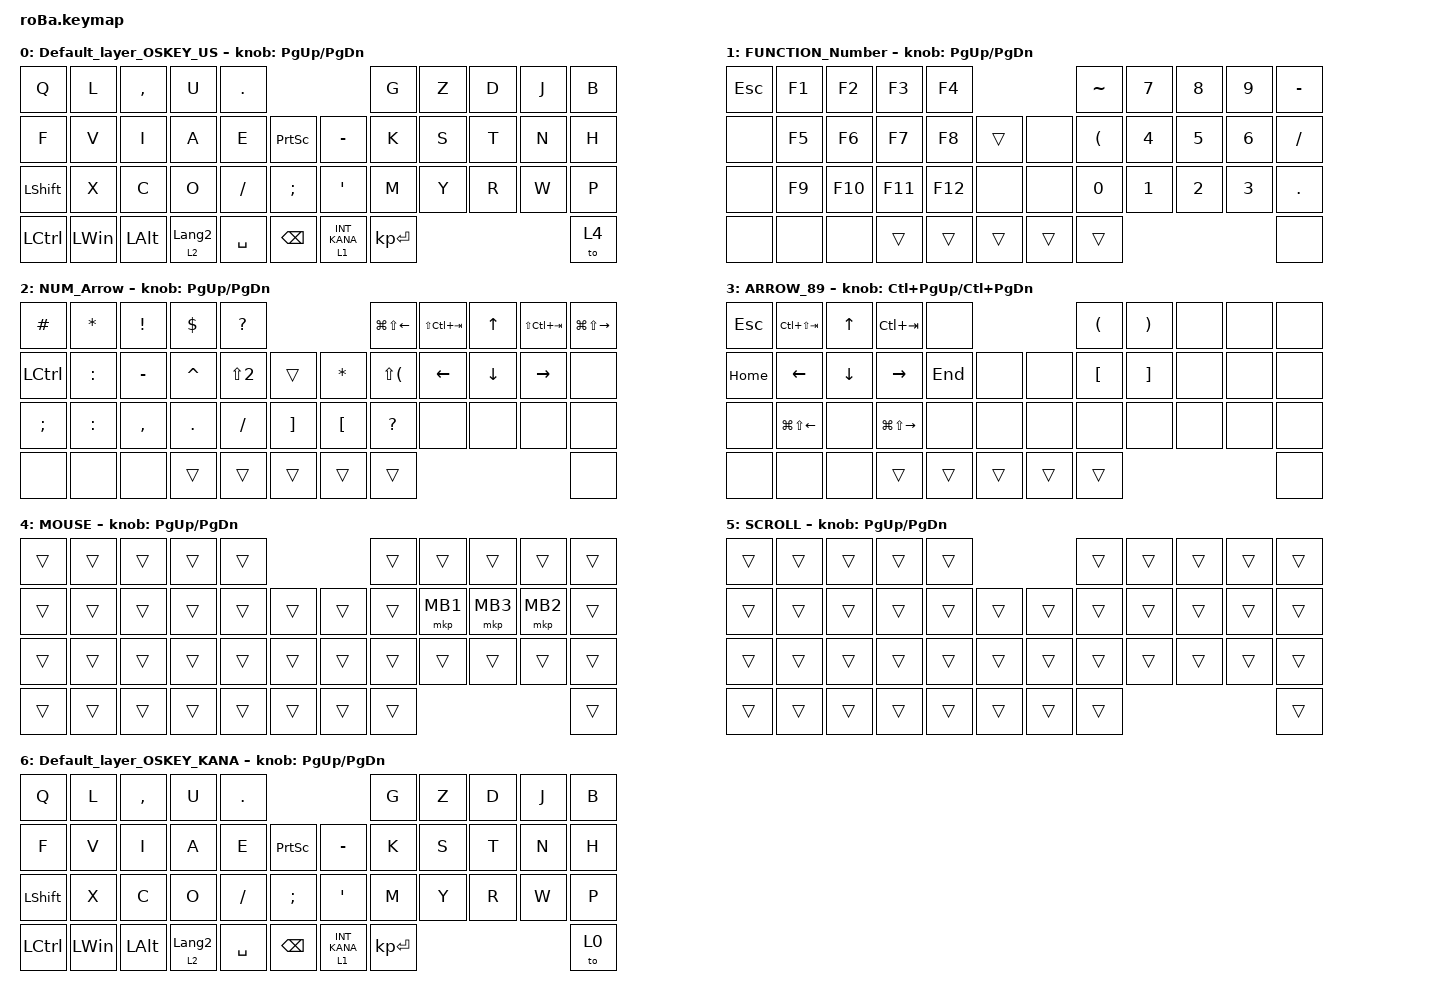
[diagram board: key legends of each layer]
#include <behaviors.dtsi>
#include <dt-bindings/zmk/bt.h>
#include <dt-bindings/zmk/keys.h>
#include <dt-bindings/zmk/pointing.h>

&mt {
    flavor = "balanced";
    quick-tap-ms = <0>;
};

/ {
    combos {
        compatible = "zmk,combos";

        BT1 {
            bindings = <&bt BT_PRV>;
            key-positions = <6 5 7>;
        };

        BT2 {
            bindings = <&bt BT_NXT>;
            key-positions = <6 7 8>;
        };

        Ex {
            bindings = <&kp EXCLAMATION>;
            key-positions = <4 2>;
        };

        shift {
            bindings = <&kp LEFT_SHIFT>;
            key-positions = <38 41>;
        };

        control {
            bindings = <&kp LEFT_CONTROL>;
            key-positions = <40 39>;
        };

        click1_Ons {
            bindings = <&mkp MB1>;
            key-positions = <18 30>;
        };

        click2_Ons {
            bindings = <&mkp MB2>;
            key-positions = <20 32>;
        };

        click3_Ons {
            bindings = <&mkp MB3>;
            key-positions = <19 31>;
        };
    };

    macros {
        to_layer_0: to_layer_0 {
            compatible = "zmk,behavior-macro-one-param";
            #binding-cells = <1>;
            bindings = <&to 0 &macro_param_1to1 &kp MACRO_PLACEHOLDER>;
            label = "TO_LAYER_0";
        };

        new_macro: new_macro {
            compatible = "zmk,behavior-macro";
            #binding-cells = <0>;
            bindings = <&none>;
            label = "NEW_MACRO";
        };
    };

    behaviors {
        lt_to_layer_0: lt_to_layer_0 {
            compatible = "zmk,behavior-hold-tap";
            label = "LAYER_TAP_TO_0";
            bindings = <&mo>, <&to_layer_0>;

            #binding-cells = <2>;
            tapping-term-ms = <200>;
        };
    };

    keymap {
        compatible = "zmk,keymap";

        Default_layer_OSKEY_US {
            bindings = <
&kp Q           &kp L         &kp COMMA     &kp U             &kp PERIOD                                                  &kp G         &kp Z  &kp D  &kp J  &kp B
&kp F           &kp V         &kp I         &kp A             &kp E       &kp PRINTSCREEN      &kp MINUS                  &kp K         &kp S  &kp T  &kp N  &kp H
&kp LEFT_SHIFT  &kp X         &kp C         &kp O             &kp SLASH   &kp SEMICOLON        &kp SQT                    &kp M         &kp Y  &kp R  &kp W  &kp P
&kp LCTRL       &kp LEFT_WIN  &kp LEFT_ALT  &lt 2 LANGUAGE_2  &kp SPACE   &kp BACKSPACE        &lt_to_layer_0 1 INT_KANA  &kp KP_ENTER                       &to 4
            >;

            sensor-bindings = <&inc_dec_kp PG_UP PAGE_DOWN>;
        };

        FUNCTION_Number {
            bindings = <
&kp ESC  &kp F1  &kp F2   &kp F3   &kp F4                       &kp TILDE             &kp N7        &kp N8        &kp N9        &kp MINUS
&none    &kp F5  &kp F6   &kp F7   &kp F8   &trans      &none   &kp LEFT_PARENTHESIS  &kp NUMBER_4  &kp NUMBER_5  &kp N6        &kp SLASH
&none    &kp F9  &kp F10  &kp F11  &kp F12  &none       &none   &kp NUMBER_0          &kp NUMBER_1  &kp NUMBER_2  &kp NUMBER_3  &kp DOT
&none    &none   &none    &trans   &trans   &trans      &trans  &trans                                                          &none
            >;

            sensor-bindings = <&inc_dec_kp PG_UP PAGE_DOWN>;
        };

        NUM_Arrow {
            bindings = <
&kp HASH       &kp ASTERISK  &kp EXCLAMATION  &kp DOLLAR  &kp QUESTION                                               &kp LG(LS(LEFT))          &kp LS(LC(TAB))  &kp UP_ARROW    &kp LS(LC(TAB))  &kp LG(LS(RIGHT))
&kp LCTRL      &kp COLON     &kp MINUS        &kp CARET   &kp LS(NUMBER_2)  &trans                 &kp ASTERISK      &kp LS(LEFT_PARENTHESIS)  &kp LEFT         &kp DOWN_ARROW  &kp RIGHT        &none
&kp SEMICOLON  &kp COLON     &kp COMMA        &kp PERIOD  &kp SLASH         &kp RIGHT_BRACKET      &kp LEFT_BRACKET  &kp QUESTION              &none            &none           &none            &none
&none          &none         &none            &trans      &trans            &trans                 &trans            &trans                                                                      &none
            >;

            sensor-bindings = <&inc_dec_kp PG_UP PG_DN>;
        };

        ARROW_89 {
            bindings = <
&kp ESCAPE  &kp LC(LS(TAB))         &kp UP_ARROW    &kp LC(TAB)              &none                        &kp LEFT_PARENTHESIS  &kp RIGHT_PARENTHESIS  &none  &none  &none
&kp HOME    &kp LEFT_ARROW          &kp DOWN_ARROW  &kp RIGHT_ARROW          &kp END  &none       &none   &kp LEFT_BRACKET      &kp RIGHT_BRACKET      &none  &none  &none
&none       &kp LG(LS(LEFT_ARROW))  &none           &kp LG(LS(RIGHT_ARROW))  &none    &none       &none   &none                 &none                  &none  &none  &none
&none       &none                   &none           &trans                   &trans   &trans      &trans  &trans                                                     &none
            >;

            sensor-bindings = <&inc_dec_kp LC(PAGE_UP) LC(PAGE_DOWN)>;
        };

        MOUSE {
            bindings = <
&trans  &trans  &trans  &trans  &trans                      &trans  &trans    &trans    &trans    &trans
&trans  &trans  &trans  &trans  &trans  &trans      &trans  &trans  &mkp MB1  &mkp MB3  &mkp MB2  &trans
&trans  &trans  &trans  &trans  &trans  &trans      &trans  &trans  &trans    &trans    &trans    &trans
&trans  &trans  &trans  &trans  &trans  &trans      &trans  &trans                                &trans
            >;

            sensor-bindings = <&inc_dec_kp PAGE_UP PAGE_DOWN>;
        };

        SCROLL {
            bindings = <
&trans  &trans  &trans  &trans  &trans                      &trans  &trans  &trans  &trans  &trans
&trans  &trans  &trans  &trans  &trans  &trans      &trans  &trans  &trans  &trans  &trans  &trans
&trans  &trans  &trans  &trans  &trans  &trans      &trans  &trans  &trans  &trans  &trans  &trans
&trans  &trans  &trans  &trans  &trans  &trans      &trans  &trans                          &trans
            >;

            sensor-bindings = <&inc_dec_kp PAGE_UP PAGE_DOWN>;
        };

        Default_layer_OSKEY_KANA {
            bindings = <
&kp Q           &kp L         &kp COMMA     &kp U             &kp PERIOD                                                  &kp G         &kp Z  &kp D  &kp J  &kp B
&kp F           &kp V         &kp I         &kp A             &kp E       &kp PRINTSCREEN      &kp MINUS                  &kp K         &kp S  &kp T  &kp N  &kp H
&kp LEFT_SHIFT  &kp X         &kp C         &kp O             &kp SLASH   &kp SEMICOLON        &kp SQT                    &kp M         &kp Y  &kp R  &kp W  &kp P
&kp LCTRL       &kp LEFT_WIN  &kp LEFT_ALT  &lt 2 LANGUAGE_2  &kp SPACE   &kp BACKSPACE        &lt_to_layer_0 1 INT_KANA  &kp KP_ENTER                       &to 0
            >;

            sensor-bindings = <&inc_dec_kp PG_UP PAGE_DOWN>;
        };
    };
};
